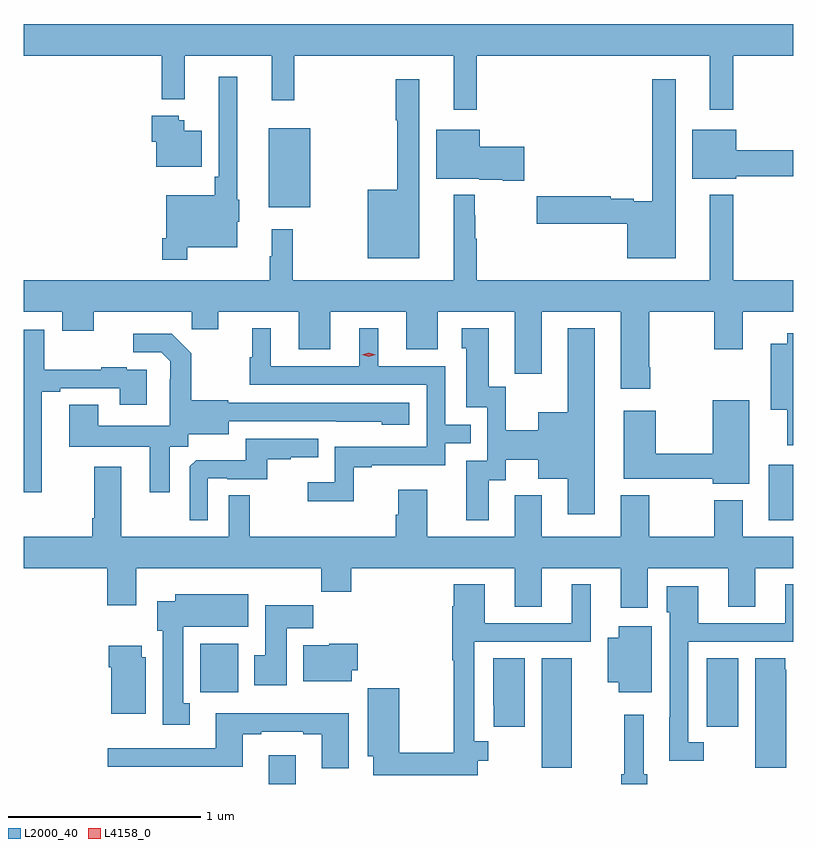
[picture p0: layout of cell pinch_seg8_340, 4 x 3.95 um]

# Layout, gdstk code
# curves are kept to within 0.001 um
import gdstk
lib = gdstk.Library(unit=1e-6, precision=1e-09)
def R(c, l, rs):  # rectangles x0, y0, x1, y1
    for r in rs: c.add(gdstk.rectangle(r[:2], r[2:], *l))
def P(c, l, *ps):  # polygons
    for p in ps: c.add(gdstk.Polygon(p, *l))
L2000_40 = (2000, 40)
L4158_0 = (4158, 0)

pinch_seg8_340 = lib.new_cell('pinch_seg8_340')
R(pinch_seg8_340, L2000_40, [(456.761,1151.342,456.901,1151.491), (458.18,1151.427,458.335,1151.996), (459.038,1151.64,459.202,1151.996), (456.405,1151.82,456.601,1152.07), (459.359,1152.714,459.487,1153.002), (456.761,1154.339,456.976,1154.749)])
P(pinch_seg8_340, L2000_40, [(457.843,1155.128),(459.053,1155.128),(459.053,1154.847),(459.175,1154.847),(459.175,1155.128),(459.487,1155.128),(459.487,1155.292),(455.487,1155.292),(455.487,1155.128),(456.205,1155.128),(456.205,1154.9),(456.323,1154.9),(456.323,1155.128),(456.776,1155.128),(456.776,1154.895),(456.893,1154.895),(456.893,1155.128),(457.721,1155.128),(457.721,1154.847),(457.843,1154.847)],
  [(456.337,1154.132),(456.598,1154.132),(456.598,1154.265),(456.607,1154.265),(456.607,1154.379),(456.598,1154.379),(456.598,1155.019),(456.501,1155.019),(456.501,1154.497),(456.481,1154.497),(456.481,1154.401),(456.228,1154.401),(456.228,1154.179),(456.208,1154.179),(456.208,1154.067),(456.337,1154.067)],
  [(457.543,1155.004),(457.422,1155.004),(457.422,1154.791),(457.429,1154.791),(457.429,1154.431),(457.274,1154.431),(457.274,1154.075),(457.543,1154.075)],
  [(458.875,1155.004),(458.754,1155.004),(458.754,1154.371),(458.657,1154.371),(458.657,1154.384),(458.538,1154.384),(458.538,1154.396),(458.154,1154.396),(458.154,1154.254),(458.624,1154.254),(458.624,1154.075),(458.875,1154.075)],
  [(456.412,1154.737),(456.322,1154.737),(456.322,1154.793),(456.294,1154.793),(456.294,1154.815),(456.152,1154.815),(456.152,1154.679),(456.176,1154.679),(456.176,1154.549),(456.412,1154.549)],
  [(458.089,1154.655),(457.858,1154.655),(457.858,1154.743),(457.631,1154.743),(457.631,1154.489),(457.854,1154.489),(457.854,1154.482),(457.976,1154.482),(457.976,1154.477),(458.089,1154.477)],
  [(459.19,1154.5),(459.487,1154.5),(459.487,1154.636),(459.19,1154.636),(459.19,1154.743),(458.963,1154.743),(458.963,1154.489),(459.19,1154.489)],
  [(458.744,1153.507),(458.739,1153.507),(458.739,1153.796),(459.076,1153.796),(459.076,1153.602),(459.223,1153.602),(459.223,1153.796),(459.487,1153.796),(459.487,1153.96),(459.175,1153.96),(459.175,1154.404),(459.053,1154.404),(459.053,1153.96),(457.843,1153.96),(457.843,1154.177),(457.835,1154.177),(457.835,1154.297),(457.831,1154.297),(457.831,1154.404),(457.721,1154.404),(457.721,1153.96),(456.886,1153.96),(456.886,1154.224),(456.776,1154.224),(456.776,1154.084),(456.765,1154.084),(456.765,1153.96),(455.487,1153.96),(455.487,1153.796),(455.687,1153.796),(455.687,1153.697),(455.851,1153.697),(455.851,1153.796),(456.361,1153.796),(456.361,1153.706),(456.499,1153.706),(456.499,1153.796),(456.917,1153.796),(456.917,1153.602),(457.081,1153.602),(457.081,1153.796),(457.475,1153.796),(457.475,1153.602),(457.639,1153.602),(457.639,1153.796),(458.039,1153.796),(458.039,1153.585),(458.04,1153.585),(458.04,1153.473),(458.179,1153.473),(458.179,1153.796),(458.591,1153.796),(458.591,1153.395),(458.744,1153.395)],
  [(457.203,1152.987),(457.297,1152.987),(457.297,1152.999),(457.677,1152.999),(457.677,1153.113),(457.811,1153.113),(457.811,1153.209),(457.677,1153.209),(457.677,1153.512),(457.33,1153.512),(457.33,1153.711),(457.232,1153.711),(457.232,1153.512),(456.772,1153.512),(456.772,1153.711),(456.674,1153.711),(456.674,1153.56),(456.663,1153.56),(456.663,1153.416),(457.581,1153.416),(457.581,1153.095),(457.104,1153.095),(457.104,1152.91),(456.963,1152.91),(456.963,1152.812),(457.203,1152.812)],
  [(457.903,1152.922),(457.993,1152.922),(457.993,1153.028),(458.162,1153.028),(458.162,1152.929),(458.315,1152.929),(458.315,1152.744),(458.455,1152.744),(458.455,1153.711),(458.315,1153.711),(458.315,1153.273),(458.162,1153.273),(458.162,1153.18),(457.992,1153.18),(457.992,1153.407),(457.903,1153.407),(457.903,1153.711),(457.763,1153.711),(457.763,1153.608),(457.787,1153.608),(457.787,1153.299),(457.896,1153.299),(457.896,1153.023),(457.787,1153.023),(457.787,1152.714),(457.903,1152.714)],
  [(455.581,1153.38),(455.677,1153.38),(455.677,1153.398),(455.987,1153.398),(455.987,1153.314),(456.127,1153.314),(456.127,1153.494),(456.023,1153.494),(456.023,1153.507),(455.891,1153.507),(455.891,1153.496),(455.593,1153.496),(455.593,1153.704),(455.487,1153.704),(455.487,1152.858),(455.581,1152.858)],
  [(459.487,1153.684),(459.455,1153.684),(459.455,1153.63),(459.371,1153.63),(459.371,1153.286),(459.455,1153.286),(459.455,1153.103),(459.487,1153.103)],
  [(456.247,1153.096),(456.342,1153.096),(456.342,1153.16),(456.553,1153.16),(456.553,1153.227),(457.347,1153.226),(457.347,1153.208),(457.492,1153.208),(457.492,1153.323),(456.549,1153.323),(456.549,1153.336),(456.357,1153.336),(456.357,1153.581),(456.257,1153.681),(456.057,1153.681),(456.057,1153.587),(456.201,1153.587),(456.248,1153.54),(456.248,1153.445),(456.246,1153.445),(456.246,1153.204),(455.875,1153.204),(455.875,1153.313),(455.723,1153.313),(455.723,1153.094),(456.143,1153.094),(456.143,1152.858),(456.247,1152.858)],
  [(459.259,1153.336),(459.068,1153.336),(459.068,1153.058),(458.772,1153.058),(458.772,1153.282),(458.606,1153.282),(458.606,1152.929),(459.068,1152.929),(459.068,1152.902),(459.259,1152.902)],
  [(456.444,1152.93),(456.544,1152.93),(456.544,1152.927),(456.752,1152.927),(456.752,1153.029),(456.875,1153.029),(456.875,1153.04),(457.019,1153.04),(457.019,1153.137),(456.642,1153.137),(456.642,1153.025),(456.383,1153.025),(456.351,1152.993),(456.351,1152.713),(456.444,1152.713)],
  [(458.039,1152.262),(458.179,1152.262),(458.179,1152.464),(458.591,1152.464),(458.591,1152.258),(458.731,1152.258),(458.731,1152.464),(459.149,1152.464),(459.149,1152.262),(459.289,1152.262),(459.289,1152.464),(459.487,1152.464),(459.487,1152.628),(459.223,1152.628),(459.223,1152.817),(459.076,1152.817),(459.076,1152.628),(458.739,1152.628),(458.739,1152.844),(458.591,1152.844),(458.591,1152.628),(458.179,1152.628),(458.179,1152.844),(458.039,1152.844),(458.039,1152.628),(457.585,1152.628),(457.585,1152.871),(457.433,1152.871),(457.433,1152.741),(457.421,1152.741),(457.421,1152.628),(456.661,1152.628),(456.661,1152.842),(456.552,1152.842),(456.552,1152.628),(455.995,1152.628),(455.995,1152.991),(455.855,1152.991),(455.855,1152.724),(455.843,1152.724),(455.843,1152.628),(455.487,1152.628),(455.487,1152.464),(455.921,1152.464),(455.921,1152.27),(456.073,1152.27),(456.073,1152.464),(457.033,1152.464),(457.033,1152.34),(457.19,1152.34),(457.19,1152.464),(458.039,1152.464)],
  [(457.846,1151.462),(457.901,1151.462),(457.901,1151.564),(457.83,1151.564),(457.83,1152.081),(458.434,1152.081),(458.434,1152.379),(458.336,1152.379),(458.336,1152.177),(457.882,1152.177),(457.882,1152.379),(457.721,1152.379),(457.721,1152.266),(457.714,1152.266),(457.714,1151.984),(457.722,1151.984),(457.722,1151.504),(457.44,1151.504),(457.44,1151.839),(457.274,1151.839),(457.274,1151.486),(457.304,1151.486),(457.304,1151.388),(457.846,1151.388)],
  [(459.022,1151.559),(458.94,1151.559),(458.94,1152.081),(459.487,1152.081),(459.487,1152.379),(459.446,1152.379),(459.446,1152.177),(458.992,1152.177),(458.992,1152.37),(458.828,1152.37),(458.828,1152.234),(458.844,1152.234),(458.844,1151.688),(458.843,1151.688),(458.843,1151.462),(459.022,1151.462)],
  [(456.349,1151.761),(456.316,1151.761),(456.316,1152.158),(456.655,1152.158),(456.655,1152.328),(456.275,1152.328),(456.275,1152.292),(456.182,1152.292),(456.182,1152.138),(456.209,1152.138),(456.209,1151.649),(456.349,1151.649)],
  [(456.853,1152.152),(456.992,1152.152),(456.992,1152.27),(456.743,1152.27),(456.743,1152.012),(456.686,1152.012),(456.686,1151.856),(456.853,1151.856)],
  [(458.752,1152.163),(458.579,1152.163),(458.579,1152.103),(458.522,1152.103),(458.522,1151.87),(458.579,1151.87),(458.579,1151.819),(458.752,1151.819)],
  [(457.192,1151.934),(457.223,1151.934),(457.223,1152.07),(457.074,1152.07),(457.074,1152.064),(456.941,1152.064),(456.941,1151.876),(457.192,1151.876)],
  [(456.121,1152),(456.1,1152),(456.1,1152.061),(455.93,1152.061),(455.93,1151.948),(455.942,1151.948),(455.942,1151.708),(456.121,1151.708)],
  [(458.092,1151.996),(457.928,1151.996),(457.928,1151.752),(457.931,1151.752),(457.931,1151.64),(458.092,1151.64)],
  [(459.451,1151.937),(459.445,1151.937),(459.445,1151.996),(459.29,1151.996),(459.29,1151.427),(459.451,1151.427)],
  [(457.177,1151.71),(456.485,1151.71),(456.485,1151.529),(455.925,1151.529),(455.925,1151.432),(456.625,1151.432),(456.625,1151.601),(456.721,1151.601),(456.721,1151.613),(456.941,1151.613),(456.941,1151.601),(457.037,1151.601),(457.037,1151.424),(457.177,1151.424)],
  [(458.729,1151.392),(458.71,1151.392),(458.71,1151.701),(458.608,1151.701),(458.608,1151.392),(458.593,1151.392),(458.593,1151.342),(458.729,1151.342)])
P(pinch_seg8_340, L4158_0, [(457.281,1153.563),(457.245,1153.573),(457.245,1153.573),(457.245,1153.573),(457.281,1153.583),(457.317,1153.573),(457.317,1153.573),(457.317,1153.573)])

lib.write_gds('pinch_seg8_340.gds')
